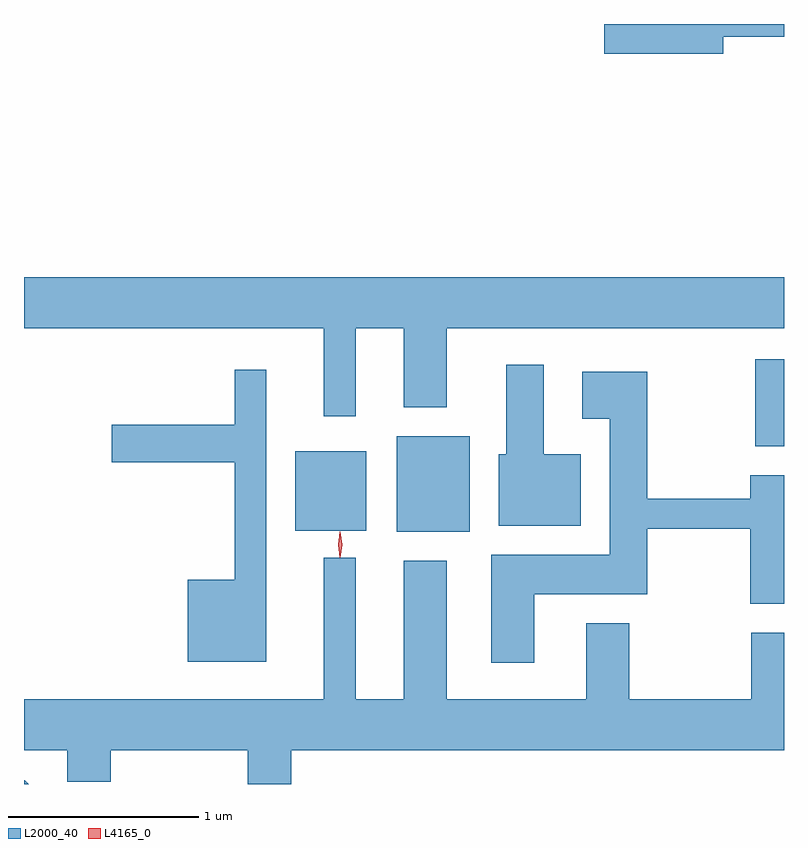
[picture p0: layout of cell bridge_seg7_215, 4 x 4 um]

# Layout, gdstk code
import gdstk
lib = gdstk.Library(unit=1e-6, precision=1e-09)
def R(c, l, rs):  # rectangles x0, y0, x1, y1
    for r in rs: c.add(gdstk.rectangle(r[:2], r[2:], *l))
def P(c, l, *ps):  # polygons
    for p in ps: c.add(gdstk.Polygon(p, *l))
L2000_40 = (2000, 40)
L4165_0 = (4165, 0)

bridge_seg7_215 = lib.new_cell('bridge_seg7_215')
R(bridge_seg7_215, L2000_40, [(1876.586,1675.506,1876.969,1676.009), (1876.051,1675.511,1876.424,1675.929), (1878.471,1675.956,1878.623,1676.414)])
P(bridge_seg7_215, L2000_40, [(1878.304,1678.111),(1878.623,1678.111),(1878.623,1678.178),(1877.676,1678.178),(1877.676,1678.021),(1878.304,1678.021)],
  [(1876.369,1676.576),(1876.621,1676.576),(1876.621,1676.161),(1876.849,1676.161),(1876.849,1676.576),(1878.623,1676.576),(1878.623,1676.844),(1874.623,1676.844),(1874.623,1676.576),(1876.201,1676.576),(1876.201,1676.113),(1876.369,1676.113)],
  [(1877.554,1675.914),(1877.359,1675.914),(1877.359,1676.384),(1877.161,1676.384),(1877.161,1675.914),(1877.121,1675.914),(1877.121,1675.536),(1877.554,1675.536)],
  [(1875.899,1676.358),(1875.731,1676.358),(1875.731,1676.069),(1875.086,1676.069),(1875.086,1675.871),(1875.731,1675.871),(1875.731,1675.254),(1875.486,1675.254),(1875.486,1674.821),(1875.899,1674.821)],
  [(1877.309,1675.176),(1877.904,1675.176),(1877.904,1675.521),(1878.446,1675.521),(1878.446,1675.126),(1878.623,1675.126),(1878.623,1675.804),(1878.446,1675.804),(1878.446,1675.679),(1877.904,1675.679),(1877.904,1676.349),(1877.561,1676.349),(1877.561,1676.101),(1877.706,1676.101),(1877.706,1675.384),(1877.081,1675.384),(1877.081,1674.816),(1877.309,1674.816)],
  [(1876.029,1674.356),(1878.623,1674.356),(1878.623,1674.974),(1878.451,1674.974),(1878.451,1674.624),(1877.809,1674.624),(1877.809,1675.024),(1877.581,1675.024),(1877.581,1674.624),(1876.849,1674.624),(1876.849,1675.354),(1876.621,1675.354),(1876.621,1674.624),(1876.369,1674.624),(1876.369,1675.368),(1876.201,1675.368),(1876.201,1674.624),(1874.623,1674.624),(1874.623,1674.356),(1874.851,1674.356),(1874.851,1674.191),(1875.079,1674.191),(1875.079,1674.356),(1875.801,1674.356),(1875.801,1674.178),(1876.029,1674.178)],
  [(1874.627,1674.199),(1874.623,1674.199),(1874.623,1674.178),(1874.648,1674.178)])
P(bridge_seg7_215, L4165_0, [(1876.286,1675.37),(1876.277,1675.438),(1876.286,1675.506),(1876.287,1675.506),(1876.287,1675.506),(1876.297,1675.438),(1876.287,1675.37),(1876.287,1675.37)],
  [(1876.286,1675.373),(1876.286,1675.373),(1876.276,1675.437),(1876.286,1675.502),(1876.286,1675.502),(1876.287,1675.502),(1876.296,1675.437),(1876.287,1675.373)])

lib.write_gds('bridge_seg7_215.gds')
